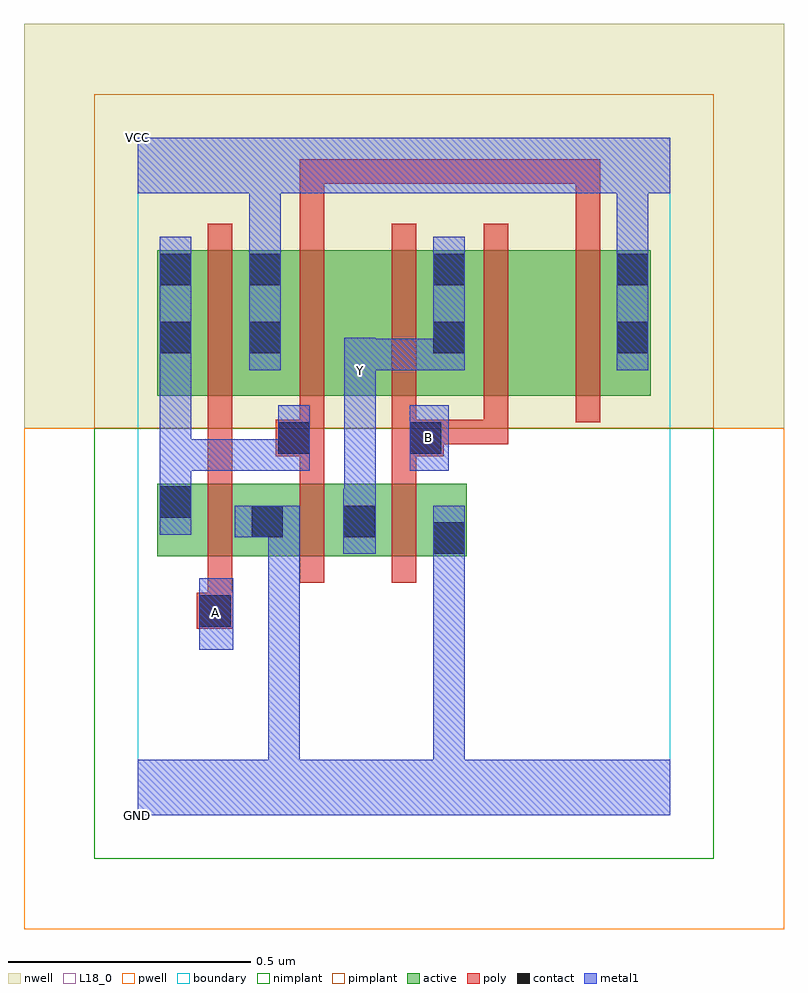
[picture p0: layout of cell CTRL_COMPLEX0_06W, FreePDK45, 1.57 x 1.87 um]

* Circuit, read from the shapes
.subckt CTRL_COMPLEX0_06W A B GND VCC Y
M1 GND A n1 VSUBS nfet w=0.15u l=0.05u
M2 Y n1 GND VSUBS nfet w=0.15u l=0.05u
M3 GND B Y VSUBS nfet w=0.15u l=0.05u
M4 VCC A n1 n2 pfet w=0.3u l=0.05u
M5 n3 n1 VCC n2 pfet w=0.3u l=0.05u
M6 Y B n3 n2 pfet w=0.3u l=0.05u
M7 n4 B Y n2 pfet w=0.3u l=0.05u
M8 VCC n1 n4 n2 pfet w=0.3u l=0.05u
.ends

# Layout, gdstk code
import gdstk
lib = gdstk.Library(unit=1e-6, precision=1e-09)
def R(c, l, rs):  # rectangles x0, y0, x1, y1
    for r in rs: c.add(gdstk.rectangle(r[:2], r[2:], *l))
def A(c, l, x, y, w, h, nx, ny, dx, dy):  # array of equal rectangles
    R(c, l, [(x+i*dx, y+j*dy, x+i*dx+w, y+j*dy+h) for i in range(nx) for j in range(ny)])
active = (1, 0)
pwell = (2, 0)
nwell = (3, 0)
nimplant = (4, 0)
pimplant = (5, 0)
poly = (9, 0)
contact = (10, 0)
metal1 = (11, 0)
L18_0 = (18, 0)
boundary = (235, 0)

ctrl_complex0_06w = lib.new_cell('CTRL_COMPLEX0_06W')
R(ctrl_complex0_06w, active, [(0.04,0.535,0.115,0.685), (0.04,0.535,0.305,0.685), (0.23,0.535,0.495,0.685), (0.42,0.535,0.68,0.685), (0.42,0.535,0.495,0.645), (0.605,0.535,0.68,0.685), (0.23,0.57,0.305,0.645), (0.04,0.867,0.115,1.165), (0.04,0.867,0.3,1.167), (0.225,0.867,0.455,1.167), (0.455,0.867,0.68,1.167), (0.605,0.867,0.835,1.167), (0.835,0.867,1.06,1.167), (0.985,0.867,1.06,1.165), (0.605,0.882,0.68,1.165), (0.225,0.95,0.3,1.165)])
R(ctrl_complex0_06w, pwell, [(-0.235,-0.235,1.335,0.8)])
R(ctrl_complex0_06w, nwell, [(-0.235,0.8,1.335,1.635)])
R(ctrl_complex0_06w, nimplant, [(-0.09,-0.09,1.19,0.8)])
R(ctrl_complex0_06w, pimplant, [(-0.09,0.8,1.19,1.49)])
A(ctrl_complex0_06w, poly, 0.145, 0.48, 0.05, 0.26, 3, 1, 0.19, 0)
A(ctrl_complex0_06w, poly, 0.335, 0.767, 0.05, 0.095, 3, 1, 0.19, 0)
A(ctrl_complex0_06w, poly, 0.145, 0.812, 0.05, 0.41, 5, 1, 0.19, 0)
R(ctrl_complex0_06w, poly, [(0.122,0.385,0.197,0.46), (0.145,0.41,0.195,0.53), (0.145,0.69,0.195,0.785), (0.335,0.69,0.385,0.792), (0.525,0.69,0.575,0.792), (0.145,0.735,0.195,0.785), (0.145,0.735,0.195,0.862), (0.285,0.742,0.385,0.817), (0.525,0.742,0.632,0.817), (0.582,0.767,0.765,0.817), (0.715,0.767,0.765,0.817), (0.715,0.767,0.765,0.817), (0.715,0.767,0.765,0.817), (0.335,1.172,0.385,1.355), (0.905,1.172,0.955,1.355), (0.335,1.305,0.385,1.355), (0.335,1.305,0.517,1.355), (0.467,1.305,0.517,1.355), (0.467,1.305,0.517,1.355), (0.467,1.305,0.517,1.355), (0.467,1.305,0.765,1.355), (0.715,1.305,0.765,1.355), (0.715,1.305,0.765,1.355), (0.715,1.305,0.765,1.355), (0.715,1.305,0.955,1.355), (0.905,1.305,0.955,1.355), (0.905,1.305,0.955,1.355), (0.905,1.305,0.955,1.355)])
A(ctrl_complex0_06w, contact, 0.23, 0.955, 0.065, 0.065, 3, 2, 0.38, 0.14)
R(ctrl_complex0_06w, contact, [(0.127,0.39,0.192,0.455), (0.61,0.54,0.675,0.605), (0.235,0.575,0.3,0.64), (0.425,0.575,0.49,0.64), (0.045,0.615,0.11,0.68), (0.29,0.747,0.355,0.812), (0.562,0.747,0.627,0.812), (0.045,0.955,0.11,1.02), (0.045,1.095,0.11,1.16)])
A(ctrl_complex0_06w, metal1, 0.23, 0.92, 0.065, 0.275, 3, 1, 0.38, 0)
R(ctrl_complex0_06w, metal1, [(0,0,1.1,0.115), (0.27,0.05,0.335,0.252), (0.61,0.05,0.675,0.115), (0.61,0.05,0.675,0.115), (0.61,0.05,0.675,0.115), (0.61,0.05,0.675,0.115), (0.61,0.05,0.675,0.15), (0.61,0.085,0.675,0.15), (0.61,0.085,0.675,0.15), (0.61,0.085,0.675,0.15), (0.61,0.085,0.675,0.57), (0.27,0.187,0.335,0.252), (0.27,0.187,0.335,0.252), (0.27,0.187,0.335,0.252), (0.27,0.187,0.335,0.252), (0.27,0.187,0.335,0.252), (0.27,0.187,0.335,0.252), (0.27,0.187,0.335,0.252), (0.27,0.187,0.335,0.64), (0.127,0.342,0.197,0.49), (0.61,0.505,0.675,0.64), (0.425,0.54,0.492,0.675), (0.2,0.575,0.335,0.64), (0.045,0.58,0.11,0.715), (0.427,0.61,0.492,0.917), (0.045,0.65,0.11,0.777), (0.045,0.712,0.11,0.777), (0.045,0.712,0.11,0.777), (0.045,0.712,0.11,0.777), (0.045,0.712,0.352,0.777), (0.045,0.712,0.11,0.985), (0.287,0.712,0.352,0.777), (0.287,0.712,0.355,0.777), (0.29,0.712,0.355,0.847), (0.562,0.712,0.642,0.847), (0.427,0.852,0.492,0.987), (0.045,0.92,0.11,1.195), (0.427,0.92,0.492,0.985), (0.427,0.92,0.675,0.985), (0.427,0.92,0.492,0.987), (0.61,0.92,0.675,0.985), (0.61,0.92,0.675,0.985), (0.23,1.13,0.295,1.195), (0.23,1.13,0.295,1.195), (0.23,1.13,0.295,1.35), (0.99,1.13,1.055,1.195), (0.99,1.13,1.055,1.195), (0.99,1.13,1.055,1.35), (0,1.285,1.1,1.4)])
A(ctrl_complex0_06w, L18_0, 0.23, 0.92, 0.065, 0.275, 3, 1, 0.38, 0)
R(ctrl_complex0_06w, L18_0, [(0,0,1.1,0.115), (0.27,0.05,0.335,0.252), (0.61,0.05,0.675,0.115), (0.61,0.05,0.675,0.115), (0.61,0.05,0.675,0.115), (0.61,0.05,0.675,0.115), (0.61,0.05,0.675,0.15), (0.61,0.085,0.675,0.15), (0.61,0.085,0.675,0.15), (0.61,0.085,0.675,0.15), (0.61,0.085,0.675,0.57), (0.27,0.187,0.335,0.252), (0.27,0.187,0.335,0.252), (0.27,0.187,0.335,0.252), (0.27,0.187,0.335,0.252), (0.27,0.187,0.335,0.252), (0.27,0.187,0.335,0.252), (0.27,0.187,0.335,0.252), (0.27,0.187,0.335,0.64), (0.127,0.342,0.197,0.49), (0.127,0.387,0.192,0.452), (0.61,0.505,0.675,0.64), (0.425,0.54,0.492,0.675), (0.2,0.575,0.335,0.64), (0.427,0.61,0.492,0.917), (0.562,0.712,0.642,0.847), (0.567,0.747,0.632,0.812), (0.427,0.852,0.492,0.987), (0.427,0.887,0.492,0.952), (0.427,0.92,0.492,0.985), (0.427,0.92,0.492,0.987), (0.427,0.92,0.675,0.985), (0.61,0.92,0.675,0.985), (0.61,0.92,0.675,0.985), (0.23,1.13,0.295,1.195), (0.23,1.13,0.295,1.195), (0.23,1.13,0.295,1.35), (0.99,1.13,1.055,1.195), (0.99,1.13,1.055,1.195), (0.99,1.13,1.055,1.35), (0,1.285,1.1,1.4)])
R(ctrl_complex0_06w, boundary, [(0,0,1.1,1.4)])
ctrl_complex0_06w.add(gdstk.Label('A', (0.16,0.42), layer=11, texttype=0))
ctrl_complex0_06w.add(gdstk.Label('B', (0.6,0.78), layer=11, texttype=0))
ctrl_complex0_06w.add(gdstk.Label('Y', (0.46,0.92), layer=11, texttype=0))
ctrl_complex0_06w.add(gdstk.Label('VCC', (0,1.4), layer=11, texttype=0))
ctrl_complex0_06w.add(gdstk.Label('GND', (0,0), layer=11, texttype=0))

lib.write_gds('CTRL_COMPLEX0_06W.gds')
